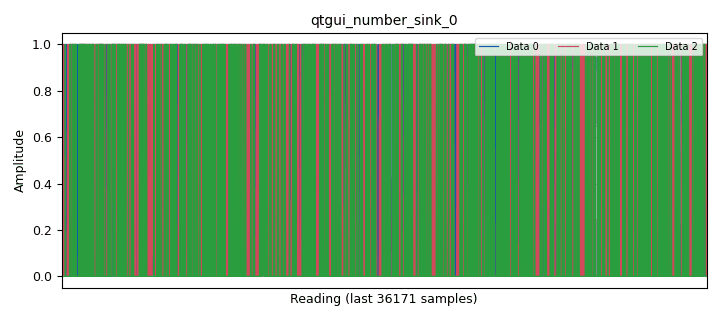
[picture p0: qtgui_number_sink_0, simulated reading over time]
<?xml version='1.0' encoding='utf-8'?>
<?grc format='1' created='3.7.10'?>
<flow_graph>
<block>
<key>options</key>
<param><key>id</key><value>Add_boolean_operator</value></param>
<param><key>author</key><value>Alexandros-Apostolos A. Boulogeorgos</value></param>
<param><key>generate_options</key><value>qt_gui</value></param>
<param><key>title</key><value>Add_boolean_operator</value></param>
</block>
<block>
<key>variable</key>
<param><key>id</key><value>Ns</value></param>
<param><key>value</key><value>1000000</value></param>
</block>
<block>
<key>variable</key>
<param><key>id</key><value>samp_rate</value></param>
<param><key>value</key><value>1000000</value></param>
</block>
<block>
<key>analog_random_source_x</key>
<param><key>id</key><value>analog_random_source_x_0</value></param>
<param><key>max</key><value>2</value></param>
<param><key>min</key><value>0</value></param>
<param><key>num_samps</key><value>Ns</value></param>
<param><key>type</key><value>int</value></param>
<param><key>repeat</key><value>True</value></param>
</block>
<block>
<key>analog_random_source_x</key>
<param><key>id</key><value>analog_random_source_x_0_0</value></param>
<param><key>max</key><value>2</value></param>
<param><key>min</key><value>0</value></param>
<param><key>num_samps</key><value>Ns</value></param>
<param><key>type</key><value>int</value></param>
<param><key>repeat</key><value>True</value></param>
</block>
<block>
<key>blocks_and_xx</key>
<param><key>id</key><value>blocks_and_xx_0</value></param>
<param><key>type</key><value>int</value></param>
</block>
<block>
<key>blocks_throttle</key>
<param><key>id</key><value>blocks_throttle_0</value></param>
<param><key>samples_per_second</key><value>samp_rate</value></param>
<param><key>type</key><value>int</value></param>
</block>
<block>
<key>blocks_throttle</key>
<param><key>id</key><value>blocks_throttle_0_0</value></param>
<param><key>samples_per_second</key><value>samp_rate</value></param>
<param><key>type</key><value>int</value></param>
</block>
<block>
<key>blocks_throttle</key>
<param><key>id</key><value>blocks_throttle_0_0_0</value></param>
<param><key>samples_per_second</key><value>samp_rate</value></param>
<param><key>type</key><value>int</value></param>
</block>
<block>
<key>qtgui_number_sink</key>
<param><key>id</key><value>qtgui_number_sink_0</value></param>
<param><key>autoscale</key><value>True</value></param>
<param><key>graph_type</key><value>qtgui.NUM_GRAPH_VERT</value></param>
<param><key>type</key><value>float</value></param>
<param><key>min</key><value>0</value></param>
<param><key>nconnections</key><value>3</value></param>
<param><key>update_time</key><value>0.30</value></param>
</block>
<connection><source_block_id>analog_random_source_x_0</source_block_id><sink_block_id>blocks_and_xx_0</sink_block_id><source_key>0</source_key><sink_key>0</sink_key></connection>
<connection><source_block_id>analog_random_source_x_0</source_block_id><sink_block_id>blocks_throttle_0_0</sink_block_id><source_key>0</source_key><sink_key>0</sink_key></connection>
<connection><source_block_id>analog_random_source_x_0_0</source_block_id><sink_block_id>blocks_and_xx_0</sink_block_id><source_key>0</source_key><sink_key>1</sink_key></connection>
<connection><source_block_id>analog_random_source_x_0_0</source_block_id><sink_block_id>blocks_throttle_0_0_0</sink_block_id><source_key>0</source_key><sink_key>0</sink_key></connection>
<connection><source_block_id>blocks_and_xx_0</source_block_id><sink_block_id>blocks_throttle_0</sink_block_id><source_key>0</source_key><sink_key>0</sink_key></connection>
<connection><source_block_id>blocks_throttle_0</source_block_id><sink_block_id>qtgui_number_sink_0</sink_block_id><source_key>0</source_key><sink_key>2</sink_key></connection>
<connection><source_block_id>blocks_throttle_0_0</source_block_id><sink_block_id>qtgui_number_sink_0</sink_block_id><source_key>0</source_key><sink_key>0</sink_key></connection>
<connection><source_block_id>blocks_throttle_0_0_0</source_block_id><sink_block_id>qtgui_number_sink_0</sink_block_id><source_key>0</source_key><sink_key>1</sink_key></connection>
</flow_graph>
